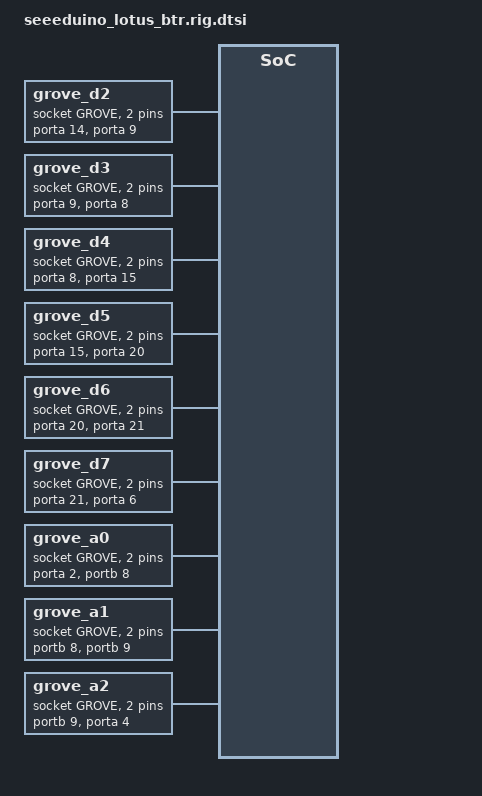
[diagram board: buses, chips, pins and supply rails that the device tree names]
/* Board-DT fragment: Seeed Seeeduino Lotus (SAMD21), btr-shields clone
 * (board reference: seeeduino_lotus_btr). Content clone of
 * seeeduino_lotus.rig.dtsi (P3 3c) — same real pin mapping from bridle's
 * grove_d and grove_a connector .dtsi files, same daisy-lacing note. Kept as
 * a separate board name so the expander's `rig,board` lookup
 * (scripts/rigexp/boarddt.py) resolves `seeeduino_lotus_btr` to a rig-enabled
 * board distinct from the original trial board id, matching the real board
 * folder boards/seeed/seeeduino_lotus_btr added alongside it.
 *
 * Note the daisy-lacing: SIG1 of one connector is SIG0 of the next (D3 =
 * porta9 in both grove_d2 and grove_d3). That is real cross-socket net
 * sharing (R13) — the expander resolves both to porta9. Modules here (button,
 * LED) use SIG0 only, so their SIG0 pins are all distinct; the lacing would
 * bite a module that also claimed SIG1.
 *
 * Replaces bridle's per-connector `seeed,grove-connector` nexuses PLUS the
 * "laced" `grove_gpios` flat rail (grove_connectors.dtsi) — the rail existed
 * only to give shields one label to hardcode, which is what forced 64 overlays
 * per shield. With typed sockets a module names its socket instead.
 */

#include <dt-bindings/connector/grove.h>

/ {
	/* Digital Grove sockets. socket,pwm-map (rig-model data, 5-cell rows:
	 * <position 0 &timer channel 0>) mirrors bridle's pwm-map — note D2, D4
	 * both land on tcc0 ch0, so using both as PWM at once is a channel clash. */
	grove_d2: grove-d2 { compatible = "socket,grove"; #gpio-cells = <2>;
		gpio-map = <GROVE_SIG0 0 &porta 14 0>, <GROVE_SIG1 0 &porta 9 0>;
		socket,pwm-map = <GROVE_SIG0 0 &tcc0 0 0>, <GROVE_SIG1 0 &tcc0 1 0>; };
	grove_d3: grove-d3 { compatible = "socket,grove"; #gpio-cells = <2>;
		gpio-map = <GROVE_SIG0 0 &porta 9 0>, <GROVE_SIG1 0 &porta 8 0>;
		socket,pwm-map = <GROVE_SIG0 0 &tcc0 1 0>, <GROVE_SIG1 0 &tcc0 0 0>; };
	grove_d4: grove-d4 { compatible = "socket,grove"; #gpio-cells = <2>;
		gpio-map = <GROVE_SIG0 0 &porta 8 0>, <GROVE_SIG1 0 &porta 15 0>;
		socket,pwm-map = <GROVE_SIG0 0 &tcc0 0 0>, <GROVE_SIG1 0 &tcc0 1 0>; };
	grove_d5: grove-d5 { compatible = "socket,grove"; #gpio-cells = <2>;
		gpio-map = <GROVE_SIG0 0 &porta 15 0>, <GROVE_SIG1 0 &porta 20 0>; };
	grove_d6: grove-d6 { compatible = "socket,grove"; #gpio-cells = <2>;
		gpio-map = <GROVE_SIG0 0 &porta 20 0>, <GROVE_SIG1 0 &porta 21 0>; };
	grove_d7: grove-d7 { compatible = "socket,grove"; #gpio-cells = <2>;
		gpio-map = <GROVE_SIG0 0 &porta 21 0>, <GROVE_SIG1 0 &porta 6 0>; };

	/* Analog Grove sockets. socket,adc-map: position -> (adc, channel). */
	grove_a0: grove-a0 { compatible = "socket,grove"; #gpio-cells = <2>;
		gpio-map = <GROVE_SIG0 0 &porta 2 0>, <GROVE_SIG1 0 &portb 8 0>;
		socket,adc-map = <GROVE_SIG0 0 &adc0 0 0>, <GROVE_SIG1 0 &adc0 1 0>; };
	grove_a1: grove-a1 { compatible = "socket,grove"; #gpio-cells = <2>;
		gpio-map = <GROVE_SIG0 0 &portb 8 0>, <GROVE_SIG1 0 &portb 9 0>;
		socket,adc-map = <GROVE_SIG0 0 &adc0 1 0>, <GROVE_SIG1 0 &adc0 2 0>; };
	grove_a2: grove-a2 { compatible = "socket,grove"; #gpio-cells = <2>;
		gpio-map = <GROVE_SIG0 0 &portb 9 0>, <GROVE_SIG1 0 &porta 4 0>; };
};
